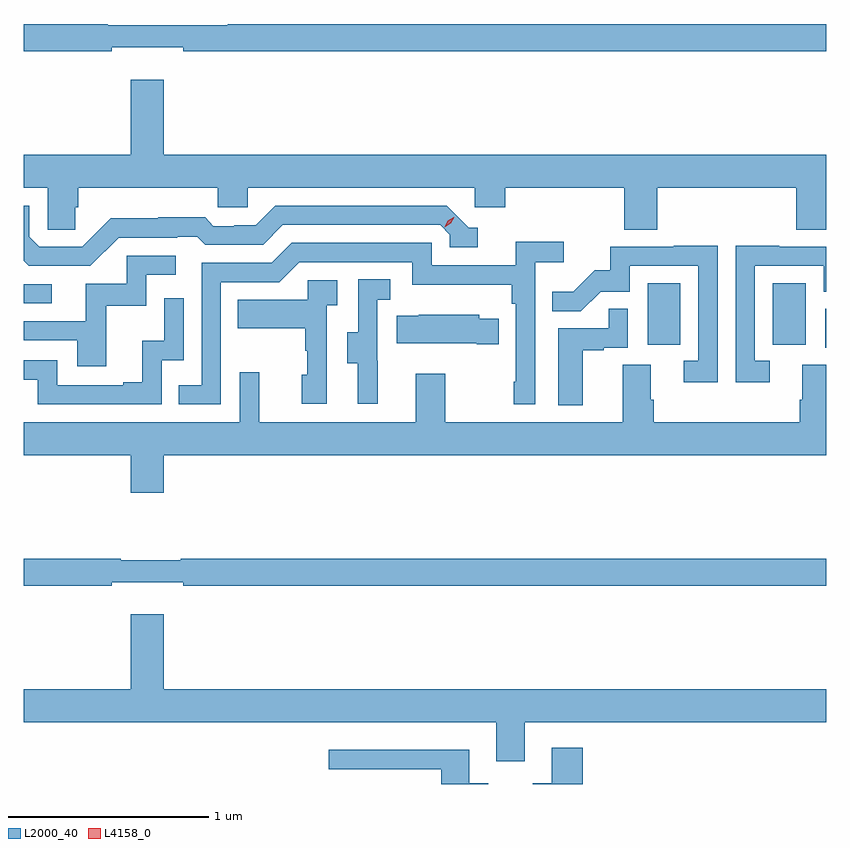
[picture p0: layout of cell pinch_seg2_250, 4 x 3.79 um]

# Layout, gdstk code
import gdstk
lib = gdstk.Library(unit=1e-6, precision=1e-09)
def R(c, l, rs):  # rectangles x0, y0, x1, y1
    for r in rs: c.add(gdstk.rectangle(r[:2], r[2:], *l))
def P(c, l, *ps):  # polygons
    for p in ps: c.add(gdstk.Polygon(p, *l))
L2000_40 = (2000, 40)
L4158_0 = (4158, 0)

pinch_seg2_250 = lib.new_cell('pinch_seg2_250')
R(pinch_seg2_250, L2000_40, [(935.7,662.823,935.705,663.017), (934.814,662.838,934.978,663.145), (935.438,662.838,935.602,663.145), (931.705,663.045,931.846,663.138)])
P(pinch_seg2_250, L2000_40, [(932.144,664.319),(932.5,664.319),(932.5,664.3),(935.705,664.3),(935.705,664.436),(932.723,664.436),(932.723,664.429),(932.123,664.429),(932.123,664.436),(931.705,664.436),(931.705,664.3),(932.144,664.3)],
  [(931.961,663.522),(931.976,663.522),(931.976,663.62),(932.673,663.62),(932.673,663.522),(932.823,663.522),(932.823,663.62),(933.954,663.62),(933.954,663.522),(934.106,663.522),(934.106,663.62),(934.697,663.62),(934.697,663.412),(934.862,663.412),(934.862,663.62),(935.555,663.62),(935.555,663.412),(935.705,663.412),(935.705,663.784),(932.404,663.784),(932.404,664.159),(932.24,664.159),(932.24,663.784),(931.705,663.784),(931.705,663.62),(931.824,663.62),(931.824,663.412),(931.961,663.412)],
  [(932.178,663.372),(932.471,663.372),(932.471,663.375),(932.57,663.375),(932.609,663.336),(932.898,663.336),(932.997,663.435),(933.78,663.435),(933.828,663.387),(933.828,663.324),(933.967,663.324),(933.967,663.42),(933.924,663.42),(933.813,663.531),(932.96,663.531),(932.861,663.432),(932.754,663.432),(932.754,663.429),(932.651,663.429),(932.609,663.472),(932.376,663.472),(932.376,663.469),(932.14,663.469),(931.998,663.327),(931.782,663.327),(931.734,663.375),(931.734,663.531),(931.705,663.531),(931.705,663.257),(931.731,663.231),(932.037,663.231)],
  [(932.688,663.15),(932.979,663.15),(933.078,663.249),(933.642,663.249),(933.642,663.137),(934.138,663.137),(934.138,663.041),(934.158,663.041),(934.158,662.653),(934.146,662.653),(934.146,662.541),(934.254,662.541),(934.254,663.248),(934.396,663.248),(934.396,663.35),(934.157,663.35),(934.157,663.234),(933.738,663.234),(933.738,663.345),(933.041,663.345),(932.942,663.246),(932.592,663.246),(932.592,662.637),(932.479,662.637),(932.479,662.541),(932.688,662.541)],
  [(935.422,662.757),(935.349,662.757),(935.349,663.231),(935.691,663.231),(935.691,663.102),(935.705,663.102),(935.705,663.327),(935.471,663.327),(935.471,663.332),(935.253,663.332),(935.253,662.652),(935.422,662.652)],
  [(935.163,663.332),(934.945,663.332),(934.945,663.327),(934.627,663.327),(934.627,663.21),(934.55,663.21),(934.443,663.103),(934.339,663.103),(934.339,663.004),(934.482,663.004),(934.58,663.102),(934.725,663.102),(934.725,663.231),(935.067,663.231),(935.067,662.757),(934.995,662.757),(934.995,662.652),(935.163,662.652)],
  [(932.117,663.033),(932.316,663.033),(932.316,663.186),(932.464,663.186),(932.464,663.282),(932.22,663.282),(932.22,663.141),(932.015,663.141),(932.015,662.955),(931.705,662.955),(931.705,662.859),(931.973,662.859),(931.973,662.73),(932.117,662.73)],
  [(933.47,662.757),(933.468,662.757),(933.468,663.061),(933.532,663.061),(933.532,663.164),(933.372,663.164),(933.372,662.901),(933.317,662.901),(933.317,662.746),(933.371,662.746),(933.371,662.544),(933.47,662.544)],
  [(933.216,663.035),(933.268,663.035),(933.268,663.159),(933.12,663.159),(933.12,663.061),(932.773,663.061),(932.773,662.921),(933.108,662.921),(933.108,662.807),(933.118,662.807),(933.118,662.688),(933.092,662.688),(933.092,662.544),(933.216,662.544)],
  [(932.394,662.76),(932.502,662.76),(932.502,663.07),(932.406,663.07),(932.406,662.858),(932.297,662.858),(932.297,662.65),(932.201,662.65),(932.201,662.637),(931.872,662.637),(931.872,662.76),(931.705,662.76),(931.705,662.664),(931.776,662.664),(931.776,662.541),(932.394,662.541)],
  [(934.492,662.811),(934.595,662.811),(934.595,662.823),(934.716,662.823),(934.716,663.017),(934.621,663.017),(934.621,662.919),(934.37,662.919),(934.37,662.537),(934.492,662.537)],
  [(934.073,662.968),(933.975,662.968),(933.975,662.986),(933.673,662.986),(933.673,662.983),(933.565,662.983),(933.565,662.846),(933.962,662.846),(933.962,662.839),(934.073,662.839)],
  [(932.404,662.288),(935.705,662.288),(935.705,662.738),(935.585,662.738),(935.585,662.564),(935.573,662.564),(935.573,662.452),(934.844,662.452),(934.844,662.564),(934.831,662.564),(934.831,662.738),(934.691,662.738),(934.691,662.452),(933.807,662.452),(933.807,662.692),(933.659,662.692),(933.659,662.452),(932.879,662.452),(932.879,662.701),(932.781,662.701),(932.781,662.452),(931.705,662.452),(931.705,662.288),(932.24,662.288),(932.24,662.1),(932.404,662.1)],
  [(932.144,661.655),(932.5,661.655),(932.5,661.636),(935.705,661.636),(935.705,661.772),(932.489,661.772),(932.489,661.765),(932.189,661.765),(932.189,661.772),(931.705,661.772),(931.705,661.636),(932.144,661.636)],
  [(934.201,660.956),(935.705,660.956),(935.705,661.12),(932.404,661.12),(932.404,661.495),(932.24,661.495),(932.24,661.12),(931.705,661.12),(931.705,660.956),(934.061,660.956),(934.061,660.762),(934.201,660.762)],
  [(934.49,660.829),(934.337,660.829),(934.337,660.652),(934.241,660.652),(934.241,660.649),(934.49,660.649)],
  [(934.021,660.652),(933.925,660.652),(933.925,660.82),(933.225,660.82),(933.225,660.723),(933.785,660.723),(933.785,660.649),(934.021,660.649)])
P(pinch_seg2_250, L4158_0, [(933.803,663.422),(933.803,663.423),(933.819,663.455),(933.849,663.474),(933.85,663.474),(933.85,663.474),(933.834,663.442),(933.803,663.422)])

lib.write_gds('pinch_seg2_250.gds')
